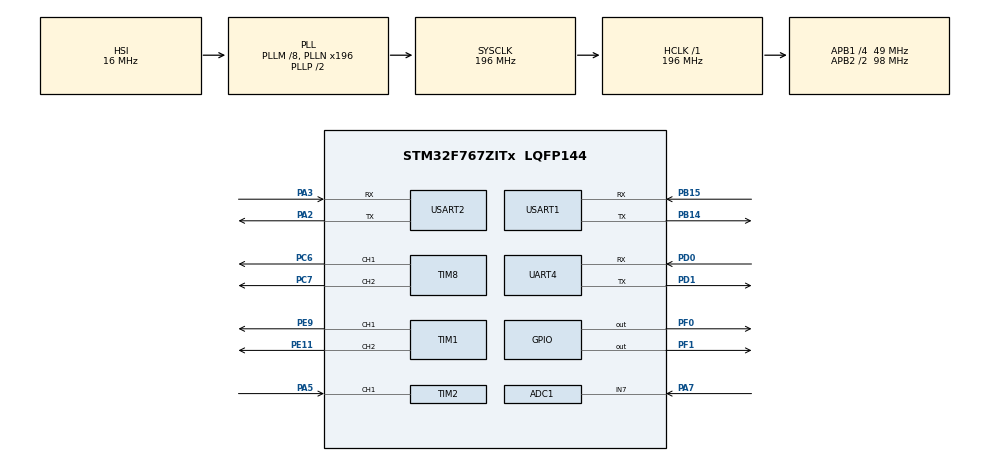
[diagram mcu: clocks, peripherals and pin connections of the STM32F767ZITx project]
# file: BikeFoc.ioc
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ADC1.Channel-0\#ChannelRegularConversion=ADC_CHANNEL_7
ADC1.ContinuousConvMode=ENABLE
ADC1.DMAContinuousRequests=ENABLE
ADC1.NbrOfConversionFlag=1
ADC1.Rank-0\#ChannelRegularConversion=1
ADC1.SamplingTime-0\#ChannelRegularConversion=ADC_SAMPLETIME_3CYCLES
ADC1.ScanConvMode=ADC_SCAN_ENABLE
ADC1.master=1
Dma.ADC1.4.Direction=DMA_PERIPH_TO_MEMORY
Dma.ADC1.4.FIFOMode=DMA_FIFOMODE_DISABLE
Dma.ADC1.4.Instance=DMA2_Stream0
Dma.ADC1.4.MemDataAlignment=DMA_MDATAALIGN_HALFWORD
Dma.ADC1.4.MemInc=DMA_MINC_ENABLE
Dma.ADC1.4.Mode=DMA_NORMAL
Dma.ADC1.4.PeriphDataAlignment=DMA_PDATAALIGN_HALFWORD
Dma.ADC1.4.PeriphInc=DMA_PINC_DISABLE
Dma.ADC1.4.Priority=DMA_PRIORITY_LOW
Dma.Request0=USART2_RX
Dma.Request1=USART2_TX
Dma.Request2=UART4_RX
Dma.Request3=UART4_TX
Dma.Request4=ADC1
Dma.UART4_RX.2.Direction=DMA_PERIPH_TO_MEMORY
Dma.UART4_RX.2.FIFOMode=DMA_FIFOMODE_DISABLE
Dma.UART4_RX.2.Instance=DMA1_Stream2
Dma.UART4_RX.2.MemDataAlignment=DMA_MDATAALIGN_BYTE
Dma.UART4_RX.2.MemInc=DMA_MINC_ENABLE
Dma.UART4_RX.2.Mode=DMA_NORMAL
Dma.UART4_RX.2.PeriphDataAlignment=DMA_PDATAALIGN_BYTE
Dma.UART4_RX.2.PeriphInc=DMA_PINC_DISABLE
Dma.UART4_RX.2.Priority=DMA_PRIORITY_LOW
Dma.UART4_TX.3.Direction=DMA_MEMORY_TO_PERIPH
Dma.UART4_TX.3.FIFOMode=DMA_FIFOMODE_DISABLE
Dma.UART4_TX.3.Instance=DMA1_Stream4
Dma.UART4_TX.3.MemDataAlignment=DMA_MDATAALIGN_BYTE
Dma.UART4_TX.3.MemInc=DMA_MINC_ENABLE
Dma.UART4_TX.3.Mode=DMA_NORMAL
Dma.UART4_TX.3.PeriphDataAlignment=DMA_PDATAALIGN_BYTE
Dma.UART4_TX.3.PeriphInc=DMA_PINC_DISABLE
Dma.UART4_TX.3.Priority=DMA_PRIORITY_LOW
Dma.USART2_RX.0.Direction=DMA_PERIPH_TO_MEMORY
Dma.USART2_RX.0.FIFOMode=DMA_FIFOMODE_DISABLE
Dma.USART2_RX.0.Instance=DMA1_Stream5
Dma.USART2_RX.0.MemDataAlignment=DMA_MDATAALIGN_BYTE
Dma.USART2_RX.0.MemInc=DMA_MINC_ENABLE
Dma.USART2_RX.0.Mode=DMA_NORMAL
Dma.USART2_RX.0.PeriphDataAlignment=DMA_PDATAALIGN_BYTE
Dma.USART2_RX.0.PeriphInc=DMA_PINC_DISABLE
Dma.USART2_RX.0.Priority=DMA_PRIORITY_LOW
Dma.USART2_TX.1.Direction=DMA_MEMORY_TO_PERIPH
Dma.USART2_TX.1.FIFOMode=DMA_FIFOMODE_DISABLE
Dma.USART2_TX.1.Instance=DMA1_Stream6
Dma.USART2_TX.1.MemDataAlignment=DMA_MDATAALIGN_BYTE
Dma.USART2_TX.1.MemInc=DMA_MINC_ENABLE
Dma.USART2_TX.1.Mode=DMA_NORMAL
Dma.USART2_TX.1.PeriphDataAlignment=DMA_PDATAALIGN_BYTE
Dma.USART2_TX.1.PeriphInc=DMA_PINC_DISABLE
Dma.USART2_TX.1.Priority=DMA_PRIORITY_LOW
FREERTOS.BinarySemaphores01=myBinarySem01,Dynamic,NULL;myBinarySem02,Dynamic,NULL
FREERTOS.CountingSemaphores01=myCountingSem01,2,Dynamic,NULL
FREERTOS.Events01=myEvent01,Dynamic,NULL
FREERTOS.INCLUDE_pcTaskGetTaskName=1
FREERTOS.INCLUDE_uxTaskGetStackHighWaterMark2=1
FREERTOS.INCLUDE_xEventGroupSetBitFromISR=1
FREERTOS.INCLUDE_xTaskAbortDelay=1
FREERTOS.INCLUDE_xTaskGetCurrentTaskHandle=1
FREERTOS.INCLUDE_xTaskGetHandle=1
FREERTOS.Mutexes01=myMutex01,Dynamic,NULL
FREERTOS.Queues01=userMessageQueue,256,uint16_t,0,Dynamic,NULL,NULL;myQueue02,16,uint16_t,0,Dynamic,NULL,NULL
FREERTOS.RecursiveMutexes01=myRecursiveMutex01,Dynamic,NULL
FREERTOS.Tasks01=defaultTask,24,512,StartDefaultTask,Default,NULL,Dynamic,NULL,NULL;myTask02,8,256,StartTask02,Default,NULL,Dynamic,NULL,NULL
FREERTOS.Timers01=myTimer01,Callback01,osTimerPeriodic,Default,NULL,Dynamic,NULL;myTimer02,Callback02,osTimerPeriodic,Default,NULL,Dynamic,NULL
FREERTOS.configENABLE_FPU=1
FREERTOS.configMAX_TASK_NAME_LEN=96
FREERTOS.configMINIMAL_STACK_SIZE=128
FREERTOS.configUSE_IDLE_HOOK=1
FREERTOS.configUSE_NEWLIB_REENTRANT=0
FREERTOS.configUSE_STATS_FORMATTING_FUNCTIONS=1
FREERTOS.configUSE_TICK_HOOK=1
Mcu.Family=STM32F7
Mcu.Name=STM32F767ZITx
Mcu.Package=LQFP144
NVIC.ADC_IRQn=true\:5\:0\:false\:false\:true\:true\:true\:true
NVIC.DMA1_Stream2_IRQn=true\:5\:0\:false\:false\:true\:true\:false\:true
NVIC.DMA1_Stream4_IRQn=true\:5\:0\:false\:false\:true\:true\:false\:true
NVIC.DMA1_Stream5_IRQn=true\:5\:0\:false\:false\:true\:true\:false\:true
NVIC.DMA1_Stream6_IRQn=true\:5\:0\:false\:false\:true\:true\:false\:true
NVIC.DMA2_Stream0_IRQn=true\:5\:0\:false\:false\:true\:true\:false\:true
NVIC.PriorityGroup=NVIC_PRIORITYGROUP_4
NVIC.USART2_IRQn=true\:5\:0\:false\:false\:true\:true\:true\:true
PA2.Mode=Asynchronous
PA2.Signal=USART2_TX
PA3.Mode=Asynchronous
PA3.Signal=USART2_RX
PA5.Signal=S_TIM2_CH1_ETR
PA7.Signal=ADCx_IN7
PB14.Mode=Asynchronous
PB14.Signal=USART1_TX
PB15.Mode=Asynchronous
PB15.Signal=USART1_RX
PC6.Signal=S_TIM8_CH1
PC7.Signal=S_TIM8_CH2
PD0.Mode=Asynchronous
PD0.Signal=UART4_RX
PD1.Mode=Asynchronous
PD1.Signal=UART4_TX
PE11.Signal=S_TIM1_CH2
PE9.Signal=S_TIM1_CH1
PF0.Signal=GPIO_Output
PF1.Signal=GPIO_Output
PH0/OSC_IN.Mode=HSE-External-Oscillator
PH0/OSC_IN.Signal=RCC_OSC_IN
PH1/OSC_OUT.Mode=HSE-External-Oscillator
PH1/OSC_OUT.Signal=RCC_OSC_OUT
ProjectManager.HeapSize=0x400
ProjectManager.StackSize=0x800
ProjectManager.TargetToolchain=MDK-ARM V5.32
RCC.AHBFreq_Value=196000000
RCC.APB1CLKDivider=RCC_HCLK_DIV4
RCC.APB1Freq_Value=49000000
RCC.APB1TimFreq_Value=98000000
RCC.APB2CLKDivider=RCC_HCLK_DIV2
RCC.APB2Freq_Value=98000000
RCC.APB2TimFreq_Value=196000000
RCC.CortexFreq_Value=196000000
RCC.HCLKFreq_Value=196000000
RCC.HSE_VALUE=25000000
RCC.HSI_VALUE=16000000
RCC.LSE_VALUE=32768
RCC.PLLM=8
RCC.PLLN=196
RCC.SYSCLKFreq_VALUE=196000000
RCC.SYSCLKSource=RCC_SYSCLKSOURCE_PLLCLK
RCC.USBFreq_Value=196000000
RCC.VCOOutputFreq_Value=392000000
SH.ADCx_IN7.0=ADC1_IN7,IN7
SH.S_TIM1_CH1.0=TIM1_CH1,PWM Generation1 CH1
SH.S_TIM1_CH2.0=TIM1_CH2,Output Compare2 CH2
SH.S_TIM2_CH1_ETR.0=TIM2_CH1,Input_Capture1_from_TI1
SH.S_TIM8_CH1.0=TIM8_CH1,Output Compare1 CH1
SH.S_TIM8_CH2.0=TIM8_CH2,Output Compare2 CH2
TIM1.Channel-Output\ Compare2\ CH2=TIM_CHANNEL_2
TIM1.Channel-PWM\ Generation1\ CH1=TIM_CHANNEL_1
TIM2.Channel-Input_Capture1_from_TI1=TIM_CHANNEL_1
TIM2.Channel-Input_Capture2_from_TI1_63=TIM_CHANNEL_2
TIM8.Channel-Output\ Compare1\ CH1=TIM_CHANNEL_1
TIM8.Channel-Output\ Compare2\ CH2=TIM_CHANNEL_2
USART1.VirtualMode-Asynchronous=VM_ASYNC
USART2.VirtualMode-Asynchronous=VM_ASYNC
VP_FREERTOS_VS_CMSIS_V2.Mode=CMSIS_V2
VP_TIM1_VS_ClockSourceINT.Mode=Internal
VP_TIM2_VS_ClockSourceINT.Mode=Internal
VP_TIM2_VS_indirect_ch1.Mode=Input_Capture2_from_TI1_63
VP_TIM8_VS_ClockSourceITR.Mode=TriggerSource_ITR0
board=custom

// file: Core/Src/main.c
/* USER CODE BEGIN Header */
/**
  ******************************************************************************
  * @file           : main.c
  * @brief          : Main program body
  ******************************************************************************
  * @attention
  *
  * <h2><center>&copy; Copyright (c) 2022 STMicroelectronics.
  * All rights reserved.</center></h2>
  *
  * This software component is licensed by ST under Ultimate Liberty license
  * SLA0044, the "License"; You may not use this file except in compliance with
  * the License. You may obtain a copy of the License at:
  *                             www.st.com/SLA0044
  *
  ******************************************************************************
  */
/* USER CODE END Header */
#include "main.h"
#include "cmsis_os.h"
#include "jwSerial.h"
#include "jwMPU6050.h"
#include "jwAlgorothem.h"

ADC_HandleTypeDef hadc1;
DMA_HandleTypeDef hdma_adc1;

TIM_HandleTypeDef htim1;
TIM_HandleTypeDef htim2;
TIM_HandleTypeDef htim8;

UART_HandleTypeDef huart4;
UART_HandleTypeDef huart1;
UART_HandleTypeDef huart2;
DMA_HandleTypeDef hdma_uart4_rx;
DMA_HandleTypeDef hdma_uart4_tx;
DMA_HandleTypeDef hdma_usart2_rx;
DMA_HandleTypeDef hdma_usart2_tx;

/* Definitions for defaultTask */
osThreadId_t defaultTaskHandle;
const osThreadAttr_t defaultTask_attributes = {
  .name = "defaultTask",
  .stack_size = 512 * 4,
  .priority = (osPriority_t) osPriorityNormal,
};
/* Definitions for myTask02 */
osThreadId_t myTask02Handle;
const osThreadAttr_t myTask02_attributes = {
  .name = "myTask02",
  .stack_size = 256 * 4,
  .priority = (osPriority_t) osPriorityLow,
};
/* Definitions for userMessageQueue */
osMessageQueueId_t userMessageQueueHandle;
const osMessageQueueAttr_t userMessageQueue_attributes = {
  .name = "userMessageQueue"
};
/* Definitions for myQueue02 */
osMessageQueueId_t myQueue02Handle;
const osMessageQueueAttr_t myQueue02_attributes = {
  .name = "myQueue02"
};
/* Definitions for myTimer01 */
osTimerId_t myTimer01Handle;
const osTimerAttr_t myTimer01_attributes = {
  .name = "myTimer01"
};
/* Definitions for myTimer02 */
osTimerId_t myTimer02Handle;
const osTimerAttr_t myTimer02_attributes = {
  .name = "myTimer02"
};
/* Definitions for myMutex01 */
osMutexId_t myMutex01Handle;
const osMutexAttr_t myMutex01_attributes = {
  .name = "myMutex01"
};
/* Definitions for myRecursiveMutex01 */
osMutexId_t myRecursiveMutex01Handle;
const osMutexAttr_t myRecursiveMutex01_attributes = {
  .name = "myRecursiveMutex01",
  .attr_bits = osMutexRecursive,
};
/* Definitions for myBinarySem01 */
osSemaphoreId_t myBinarySem01Handle;
const osSemaphoreAttr_t myBinarySem01_attributes = {
  .name = "myBinarySem01"
};
/* Definitions for myBinarySem02 */
osSemaphoreId_t myBinarySem02Handle;
const osSemaphoreAttr_t myBinarySem02_attributes = {
  .name = "myBinarySem02"
};
/* Definitions for myCountingSem01 */
osSemaphoreId_t myCountingSem01Handle;
const osSemaphoreAttr_t myCountingSem01_attributes = {
  .name = "myCountingSem01"
};
/* Definitions for myEvent01 */
osEventFlagsId_t myEvent01Handle;
const osEventFlagsAttr_t myEvent01_attributes = {
  .name = "myEvent01"
};

void SystemClock_Config(void);
static void MX_GPIO_Init(void);
static void MX_DMA_Init(void);
static void MX_TIM1_Init(void);
static void MX_USART1_UART_Init(void);
static void MX_USART2_UART_Init(void);
static void MX_TIM2_Init(void);
static void MX_TIM8_Init(void);
static void MX_UART4_Init(void);
static void MX_ADC1_Init(void);
void StartDefaultTask(void *argument);
void StartTask02(void *argument);
void Callback01(void *argument);
void Callback02(void *argument);

int main(void)
{

  /* MCU Configuration--------------------------------------------------------*/

  /* Reset of all peripherals, Initializes the Flash interface and the Systick. */
  HAL_Init();

  /* Configure the system clock */
  SystemClock_Config();

  /* Initialize all configured peripherals */
  MX_GPIO_Init();
  MX_DMA_Init();
  MX_TIM1_Init();
  MX_USART1_UART_Init();
  MX_USART2_UART_Init();
  MX_TIM2_Init();
  MX_TIM8_Init();
  MX_UART4_Init();
  MX_ADC1_Init();
  /* USER CODE BEGIN 2 */
  jw_communication_Init();
  /* USER CODE END 2 */

  /* Init scheduler */
  osKernelInitialize();
  /* Create the mutex(es) */
  /* creation of myMutex01 */
  myMutex01Handle = osMutexNew(&myMutex01_attributes);

  /* Create the recursive mutex(es) */
  /* creation of myRecursiveMutex01 */
  myRecursiveMutex01Handle = osMutexNew(&myRecursiveMutex01_attributes);

  /* Create the semaphores(s) */
  /* creation of myBinarySem01 */
  myBinarySem01Handle = osSemaphoreNew(1, 1, &myBinarySem01_attributes);

  /* creation of myBinarySem02 */
  myBinarySem02Handle = osSemaphoreNew(1, 1, &myBinarySem02_attributes);

  /* creation of myCountingSem01 */
  myCountingSem01Handle = osSemaphoreNew(2, 2, &myCountingSem01_attributes);

  /* Create the timer(s) */
  /* creation of myTimer01 */
  myTimer01Handle = osTimerNew(Callback01, osTimerPeriodic, NULL, &myTimer01_attributes);

  /* creation of myTimer02 */
  myTimer02Handle = osTimerNew(Callback02, osTimerPeriodic, NULL, &myTimer02_attributes);

  /* Create the queue(s) */
  /* creation of userMessageQueue */
  userMessageQueueHandle = osMessageQueueNew (256, sizeof(uint16_t), &userMessageQueue_attributes);

  /* creation of myQueue02 */
  myQueue02Handle = osMessageQueueNew (16, sizeof(uint16_t), &myQueue02_attributes);

  /* Create the thread(s) */
  /* creation of defaultTask */
  defaultTaskHandle = osThreadNew(StartDefaultTask, NULL, &defaultTask_attributes);

  /* creation of myTask02 */
  myTask02Handle = osThreadNew(StartTask02, NULL, &myTask02_attributes);

  /* creation of myEvent01 */
  myEvent01Handle = osEventFlagsNew(&myEvent01_attributes);

  /* Start scheduler */
  osKernelStart();

  /* We should never get here as control is now taken by the scheduler */
  /* Infinite loop */
  while (1)
  {

  }
}

void SystemClock_Config(void)
{
  RCC_OscInitTypeDef RCC_OscInitStruct = {0};
  RCC_ClkInitTypeDef RCC_ClkInitStruct = {0};
  RCC_PeriphCLKInitTypeDef PeriphClkInitStruct = {0};

  /** Configure the main internal regulator output voltage
  */
  __HAL_RCC_PWR_CLK_ENABLE();
  __HAL_PWR_VOLTAGESCALING_CONFIG(PWR_REGULATOR_VOLTAGE_SCALE1);
  /** Initializes the RCC Oscillators according to the specified parameters
  * in the RCC_OscInitTypeDef structure.
  */
  RCC_OscInitStruct.OscillatorType = RCC_OSCILLATORTYPE_HSI;
  RCC_OscInitStruct.HSIState = RCC_HSI_ON;
  RCC_OscInitStruct.HSICalibrationValue = RCC_HSICALIBRATION_DEFAULT;
  RCC_OscInitStruct.PLL.PLLState = RCC_PLL_ON;
  RCC_OscInitStruct.PLL.PLLSource = RCC_PLLSOURCE_HSI;
  RCC_OscInitStruct.PLL.PLLM = 8;
  RCC_OscInitStruct.PLL.PLLN = 196;
  RCC_OscInitStruct.PLL.PLLP = RCC_PLLP_DIV2;
  RCC_OscInitStruct.PLL.PLLQ = 2;
  RCC_OscInitStruct.PLL.PLLR = 2;
  if (HAL_RCC_OscConfig(&RCC_OscInitStruct) != HAL_OK)
  {
    Error_Handler();
  }
  /** Activate the Over-Drive mode
  */
  if (HAL_PWREx_EnableOverDrive() != HAL_OK)
  {
    Error_Handler();
  }
  /** Initializes the CPU, AHB and APB buses clocks
  */
  RCC_ClkInitStruct.ClockType = RCC_CLOCKTYPE_HCLK|RCC_CLOCKTYPE_SYSCLK
                              |RCC_CLOCKTYPE_PCLK1|RCC_CLOCKTYPE_PCLK2;
  RCC_ClkInitStruct.SYSCLKSource = RCC_SYSCLKSOURCE_PLLCLK;
  RCC_ClkInitStruct.AHBCLKDivider = RCC_SYSCLK_DIV1;
  RCC_ClkInitStruct.APB1CLKDivider = RCC_HCLK_DIV4;
  RCC_ClkInitStruct.APB2CLKDivider = RCC_HCLK_DIV2;

  if (HAL_RCC_ClockConfig(&RCC_ClkInitStruct, FLASH_LATENCY_6) != HAL_OK)
  {
    Error_Handler();
  }
  PeriphClkInitStruct.PeriphClockSelection = RCC_PERIPHCLK_USART1|RCC_PERIPHCLK_USART2
                              |RCC_PERIPHCLK_UART4;
  PeriphClkInitStruct.Usart1ClockSelection = RCC_USART1CLKSOURCE_PCLK2;
  PeriphClkInitStruct.Usart2ClockSelection = RCC_USART2CLKSOURCE_PCLK1;
  PeriphClkInitStruct.Uart4ClockSelection = RCC_UART4CLKSOURCE_PCLK1;
  if (HAL_RCCEx_PeriphCLKConfig(&PeriphClkInitStruct) != HAL_OK)
  {
    Error_Handler();
  }
}

static void MX_ADC1_Init(void)
{

  ADC_ChannelConfTypeDef sConfig = {0};

  /** Configure the global features of the ADC (Clock, Resolution, Data Alignment and number of conversion)
  */
  hadc1.Instance = ADC1;
  hadc1.Init.ClockPrescaler = ADC_CLOCK_SYNC_PCLK_DIV4;
  hadc1.Init.Resolution = ADC_RESOLUTION_12B;
  hadc1.Init.ScanConvMode = ADC_SCAN_ENABLE;
  hadc1.Init.ContinuousConvMode = ENABLE;
  hadc1.Init.DiscontinuousConvMode = DISABLE;
  hadc1.Init.ExternalTrigConvEdge = ADC_EXTERNALTRIGCONVEDGE_NONE;
  hadc1.Init.ExternalTrigConv = ADC_SOFTWARE_START;
  hadc1.Init.DataAlign = ADC_DATAALIGN_RIGHT;
  hadc1.Init.NbrOfConversion = 1;
  hadc1.Init.DMAContinuousRequests = ENABLE;
  hadc1.Init.EOCSelection = ADC_EOC_SINGLE_CONV;
  if (HAL_ADC_Init(&hadc1) != HAL_OK)
  {
    Error_Handler();
  }
  /** Configure for the selected ADC regular channel its corresponding rank in the sequencer and its sample time.
  */
  sConfig.Channel = ADC_CHANNEL_7;
  sConfig.Rank = ADC_REGULAR_RANK_1;
  sConfig.SamplingTime = ADC_SAMPLETIME_3CYCLES;
  if (HAL_ADC_ConfigChannel(&hadc1, &sConfig) != HAL_OK)
  {
    Error_Handler();
  }

}

static void MX_TIM1_Init(void)
{

  TIM_ClockConfigTypeDef sClockSourceConfig = {0};
  TIM_MasterConfigTypeDef sMasterConfig = {0};
  TIM_OC_InitTypeDef sConfigOC = {0};
  TIM_BreakDeadTimeConfigTypeDef sBreakDeadTimeConfig = {0};

  htim1.Instance = TIM1;
  htim1.Init.Prescaler = 0;
  htim1.Init.CounterMode = TIM_COUNTERMODE_UP;
  htim1.Init.Period = 65535;
  htim1.Init.ClockDivision = TIM_CLOCKDIVISION_DIV1;
  htim1.Init.RepetitionCounter = 0;
  htim1.Init.AutoReloadPreload = TIM_AUTORELOAD_PRELOAD_DISABLE;
  if (HAL_TIM_Base_Init(&htim1) != HAL_OK)
  {
    Error_Handler();
  }
  sClockSourceConfig.ClockSource = TIM_CLOCKSOURCE_INTERNAL;
  if (HAL_TIM_ConfigClockSource(&htim1, &sClockSourceConfig) != HAL_OK)
  {
    Error_Handler();
  }
  if (HAL_TIM_PWM_Init(&htim1) != HAL_OK)
  {
    Error_Handler();
  }
  if (HAL_TIM_OC_Init(&htim1) != HAL_OK)
  {
    Error_Handler();
  }
  sMasterConfig.MasterOutputTrigger = TIM_TRGO_RESET;
  sMasterConfig.MasterOutputTrigger2 = TIM_TRGO2_RESET;
  sMasterConfig.MasterSlaveMode = TIM_MASTERSLAVEMODE_DISABLE;
  if (HAL_TIMEx_MasterConfigSynchronization(&htim1, &sMasterConfig) != HAL_OK)
  {
    Error_Handler();
  }
  sConfigOC.OCMode = TIM_OCMODE_PWM1;
  sConfigOC.Pulse = 0;
  sConfigOC.OCPolarity = TIM_OCPOLARITY_HIGH;
  sConfigOC.OCNPolarity = TIM_OCNPOLARITY_HIGH;
  sConfigOC.OCFastMode = TIM_OCFAST_DISABLE;
  sConfigOC.OCIdleState = TIM_OCIDLESTATE_RESET;
  sConfigOC.OCNIdleState = TIM_OCNIDLESTATE_RESET;
  if (HAL_TIM_PWM_ConfigChannel(&htim1, &sConfigOC, TIM_CHANNEL_1) != HAL_OK)
  {
    Error_Handler();
  }
  sConfigOC.OCMode = TIM_OCMODE_TIMING;
  if (HAL_TIM_OC_ConfigChannel(&htim1, &sConfigOC, TIM_CHANNEL_2) != HAL_OK)
  {
    Error_Handler();
  }
  sBreakDeadTimeConfig.OffStateRunMode = TIM_OSSR_DISABLE;
  sBreakDeadTimeConfig.OffStateIDLEMode = TIM_OSSI_DISABLE;
  sBreakDeadTimeConfig.LockLevel = TIM_LOCKLEVEL_OFF;
  sBreakDeadTimeConfig.DeadTime = 0;
  sBreakDeadTimeConfig.BreakState = TIM_BREAK_DISABLE;
  sBreakDeadTimeConfig.BreakPolarity = TIM_BREAKPOLARITY_HIGH;
  sBreakDeadTimeConfig.BreakFilter = 0;
  sBreakDeadTimeConfig.Break2State = TIM_BREAK2_DISABLE;
  sBreakDeadTimeConfig.Break2Polarity = TIM_BREAK2POLARITY_HIGH;
  sBreakDeadTimeConfig.Break2Filter = 0;
  sBreakDeadTimeConfig.AutomaticOutput = TIM_AUTOMATICOUTPUT_DISABLE;
  if (HAL_TIMEx_ConfigBreakDeadTime(&htim1, &sBreakDeadTimeConfig) != HAL_OK)
  {
    Error_Handler();
  }
  HAL_TIM_MspPostInit(&htim1);

}

static void MX_TIM2_Init(void)
{

  TIM_ClockConfigTypeDef sClockSourceConfig = {0};
  TIM_MasterConfigTypeDef sMasterConfig = {0};
  TIM_IC_InitTypeDef sConfigIC = {0};

  htim2.Instance = TIM2;
  htim2.Init.Prescaler = 0;
  htim2.Init.CounterMode = TIM_COUNTERMODE_UP;
  htim2.Init.Period = 4294967295;
  htim2.Init.ClockDivision = TIM_CLOCKDIVISION_DIV1;
  htim2.Init.AutoReloadPreload = TIM_AUTORELOAD_PRELOAD_DISABLE;
  if (HAL_TIM_Base_Init(&htim2) != HAL_OK)
  {
    Error_Handler();
  }
  sClockSourceConfig.ClockSource = TIM_CLOCKSOURCE_INTERNAL;
  if (HAL_TIM_ConfigClockSource(&htim2, &sClockSourceConfig) != HAL_OK)
  {
    Error_Handler();
  }
  if (HAL_TIM_IC_Init(&htim2) != HAL_OK)
  {
    Error_Handler();
  }
  sMasterConfig.MasterOutputTrigger = TIM_TRGO_RESET;
  sMasterConfig.MasterSlaveMode = TIM_MASTERSLAVEMODE_DISABLE;
  if (HAL_TIMEx_MasterConfigSynchronization(&htim2, &sMasterConfig) != HAL_OK)
  {
    Error_Handler();
  }
  sConfigIC.ICPolarity = TIM_INPUTCHANNELPOLARITY_RISING;
  sConfigIC.ICSelection = TIM_ICSELECTION_DIRECTTI;
  sConfigIC.ICPrescaler = TIM_ICPSC_DIV1;
  sConfigIC.ICFilter = 0;
  if (HAL_TIM_IC_ConfigChannel(&htim2, &sConfigIC, TIM_CHANNEL_1) != HAL_OK)
  {
    Error_Handler();
  }
  sConfigIC.ICSelection = TIM_ICSELECTION_INDIRECTTI;
  if (HAL_TIM_IC_ConfigChannel(&htim2, &sConfigIC, TIM_CHANNEL_2) != HAL_OK)
  {
    Error_Handler();
  }

}

static void MX_TIM8_Init(void)
{

  TIM_SlaveConfigTypeDef sSlaveConfig = {0};
  TIM_MasterConfigTypeDef sMasterConfig = {0};
  TIM_OC_InitTypeDef sConfigOC = {0};
  TIM_BreakDeadTimeConfigTypeDef sBreakDeadTimeConfig = {0};

  htim8.Instance = TIM8;
  htim8.Init.Prescaler = 0;
  htim8.Init.CounterMode = TIM_COUNTERMODE_UP;
  htim8.Init.Period = 65535;
  htim8.Init.ClockDivision = TIM_CLOCKDIVISION_DIV1;
  htim8.Init.RepetitionCounter = 0;
  htim8.Init.AutoReloadPreload = TIM_AUTORELOAD_PRELOAD_DISABLE;
  if (HAL_TIM_Base_Init(&htim8) != HAL_OK)
  {
    Error_Handler();
  }
  if (HAL_TIM_OC_Init(&htim8) != HAL_OK)
  {
    Error_Handler();
  }
  sSlaveConfig.SlaveMode = TIM_SLAVEMODE_DISABLE;
  sSlaveConfig.InputTrigger = TIM_TS_ITR0;
  if (HAL_TIM_SlaveConfigSynchro(&htim8, &sSlaveConfig) != HAL_OK)
  {
    Error_Handler();
  }
  sMasterConfig.MasterOutputTrigger = TIM_TRGO_RESET;
  sMasterConfig.MasterOutputTrigger2 = TIM_TRGO2_RESET;
  sMasterConfig.MasterSlaveMode = TIM_MASTERSLAVEMODE_DISABLE;
  if (HAL_TIMEx_MasterConfigSynchronization(&htim8, &sMasterConfig) != HAL_OK)
  {
    Error_Handler();
  }
  sConfigOC.OCMode = TIM_OCMODE_TIMING;
  sConfigOC.Pulse = 0;
  sConfigOC.OCPolarity = TIM_OCPOLARITY_HIGH;
  sConfigOC.OCNPolarity = TIM_OCNPOLARITY_HIGH;
  sConfigOC.OCFastMode = TIM_OCFAST_DISABLE;
  sConfigOC.OCIdleState = TIM_OCIDLESTATE_RESET;
  sConfigOC.OCNIdleState = TIM_OCNIDLESTATE_RESET;
  if (HAL_TIM_OC_ConfigChannel(&htim8, &sConfigOC, TIM_CHANNEL_1) != HAL_OK)
  {
    Error_Handler();
  }
  if (HAL_TIM_OC_ConfigChannel(&htim8, &sConfigOC, TIM_CHANNEL_2) != HAL_OK)
  {
    Error_Handler();
  }
  sBreakDeadTimeConfig.OffStateRunMode = TIM_OSSR_DISABLE;
  sBreakDeadTimeConfig.OffStateIDLEMode = TIM_OSSI_DISABLE;
  sBreakDeadTimeConfig.LockLevel = TIM_LOCKLEVEL_OFF;
  sBreakDeadTimeConfig.DeadTime = 0;
  sBreakDeadTimeConfig.BreakState = TIM_BREAK_DISABLE;
  sBreakDeadTimeConfig.BreakPolarity = TIM_BREAKPOLARITY_HIGH;
  sBreakDeadTimeConfig.BreakFilter = 0;
  sBreakDeadTimeConfig.Break2State = TIM_BREAK2_DISABLE;
  sBreakDeadTimeConfig.Break2Polarity = TIM_BREAK2POLARITY_HIGH;
  sBreakDeadTimeConfig.Break2Filter = 0;
  sBreakDeadTimeConfig.AutomaticOutput = TIM_AUTOMATICOUTPUT_DISABLE;
  if (HAL_TIMEx_ConfigBreakDeadTime(&htim8, &sBreakDeadTimeConfig) != HAL_OK)
  {
    Error_Handler();
  }
  HAL_TIM_MspPostInit(&htim8);

}

static void MX_UART4_Init(void)
{

  huart4.Instance = UART4;
  huart4.Init.BaudRate = 115200;
  huart4.Init.WordLength = UART_WORDLENGTH_8B;
  huart4.Init.StopBits = UART_STOPBITS_1;
  huart4.Init.Parity = UART_PARITY_NONE;
  huart4.Init.Mode = UART_MODE_TX_RX;
  huart4.Init.HwFlowCtl = UART_HWCONTROL_NONE;
  huart4.Init.OverSampling = UART_OVERSAMPLING_16;
  huart4.Init.OneBitSampling = UART_ONE_BIT_SAMPLE_DISABLE;
  huart4.AdvancedInit.AdvFeatureInit = UART_ADVFEATURE_NO_INIT;
  if (HAL_UART_Init(&huart4) != HAL_OK)
  {
    Error_Handler();
  }

}

static void MX_USART1_UART_Init(void)
{

  huart1.Instance = USART1;
  huart1.Init.BaudRate = 115200;
  huart1.Init.WordLength = UART_WORDLENGTH_8B;
  huart1.Init.StopBits = UART_STOPBITS_1;
  huart1.Init.Parity = UART_PARITY_NONE;
  huart1.Init.Mode = UART_MODE_TX_RX;
  huart1.Init.HwFlowCtl = UART_HWCONTROL_NONE;
  huart1.Init.OverSampling = UART_OVERSAMPLING_16;
  huart1.Init.OneBitSampling = UART_ONE_BIT_SAMPLE_DISABLE;
  huart1.AdvancedInit.AdvFeatureInit = UART_ADVFEATURE_NO_INIT;
  if (HAL_UART_Init(&huart1) != HAL_OK)
  {
    Error_Handler();
  }

}

static void MX_USART2_UART_Init(void)
{

  huart2.Instance = USART2;
  huart2.Init.BaudRate = 115200;
  huart2.Init.WordLength = UART_WORDLENGTH_8B;
  huart2.Init.StopBits = UART_STOPBITS_1;
  huart2.Init.Parity = UART_PARITY_NONE;
  huart2.Init.Mode = UART_MODE_TX_RX;
  huart2.Init.HwFlowCtl = UART_HWCONTROL_NONE;
  huart2.Init.OverSampling = UART_OVERSAMPLING_16;
  huart2.Init.OneBitSampling = UART_ONE_BIT_SAMPLE_DISABLE;
  huart2.AdvancedInit.AdvFeatureInit = UART_ADVFEATURE_NO_INIT;
  if (HAL_UART_Init(&huart2) != HAL_OK)
  {
    Error_Handler();
  }

}

static void MX_DMA_Init(void)
{

  /* DMA controller clock enable */
  __HAL_RCC_DMA1_CLK_ENABLE();
  __HAL_RCC_DMA2_CLK_ENABLE();

  /* DMA interrupt init */
  /* DMA1_Stream2_IRQn interrupt configuration */
  HAL_NVIC_SetPriority(DMA1_Stream2_IRQn, 5, 0);
  HAL_NVIC_EnableIRQ(DMA1_Stream2_IRQn);
  /* DMA1_Stream4_IRQn interrupt configuration */
  HAL_NVIC_SetPriority(DMA1_Stream4_IRQn, 5, 0);
  HAL_NVIC_EnableIRQ(DMA1_Stream4_IRQn);
  /* DMA1_Stream5_IRQn interrupt configuration */
  HAL_NVIC_SetPriority(DMA1_Stream5_IRQn, 5, 0);
  HAL_NVIC_EnableIRQ(DMA1_Stream5_IRQn);
  /* DMA1_Stream6_IRQn interrupt configuration */
  HAL_NVIC_SetPriority(DMA1_Stream6_IRQn, 5, 0);
  HAL_NVIC_EnableIRQ(DMA1_Stream6_IRQn);
  /* DMA2_Stream0_IRQn interrupt configuration */
  HAL_NVIC_SetPriority(DMA2_Stream0_IRQn, 5, 0);
  HAL_NVIC_EnableIRQ(DMA2_Stream0_IRQn);

}

static void MX_GPIO_Init(void)
{
  GPIO_InitTypeDef GPIO_InitStruct = {0};

  /* GPIO Ports Clock Enable */
  __HAL_RCC_GPIOF_CLK_ENABLE();
  __HAL_RCC_GPIOH_CLK_ENABLE();
  __HAL_RCC_GPIOA_CLK_ENABLE();
  __HAL_RCC_GPIOE_CLK_ENABLE();
  __HAL_RCC_GPIOB_CLK_ENABLE();
  __HAL_RCC_GPIOC_CLK_ENABLE();
  __HAL_RCC_GPIOD_CLK_ENABLE();

  /*Configure GPIO pin Output Level */
  HAL_GPIO_WritePin(GPIOF, GPIO_PIN_0|GPIO_PIN_1, GPIO_PIN_RESET);

  /*Configure GPIO pins : PF0 PF1 */
  GPIO_InitStruct.Pin = GPIO_PIN_0|GPIO_PIN_1;
  GPIO_InitStruct.Mode = GPIO_MODE_OUTPUT_PP;
  GPIO_InitStruct.Pull = GPIO_PULLUP;
  GPIO_InitStruct.Speed = GPIO_SPEED_FREQ_VERY_HIGH;
  HAL_GPIO_Init(GPIOF, &GPIO_InitStruct);

}

short tempadc;
short ax[3];
short gx[3];
MPU6050_Angle gamgle;

void StartDefaultTask(void *argument)
{
  /* USER CODE BEGIN 5 */

  /* Infinite loop */
jw_MPU6050_init();
MPU6050_Display_First();
osDelay(1000);

  for(;;)
  {
		//osDelay(100);
		//printf("StartTask01------------------------>");
		#if 0
		MPU_Get_Accelerometer(&ax[0], &ax[1], &ax[2]);
		MPU_Get_Gyroscope(&gx[0], &gx[1], &gx[2]);
		tempadc=MPU_Get_Temperature();
		MPU_Getdata();
		osDelay(100);
		Get_Angle();
		#else
		MPU6050_Get_Angle(&gamgle);
		osDelay(100);
		#endif
	}
  /* USER CODE END 5 */
}

void StartTask02(void *argument)
{
  /* USER CODE BEGIN StartTask02 */
  /* Infinite loop */
  for(;;)
  {
      //  osDelay(200);
		// printf("StartTask02------------------------>");
		osDelay(200);
	 //HAL_IWDG_Refresh(&hiwdg);
  }
  /* USER CODE END StartTask02 */
}

/* Callback01 function */
void Callback01(void *argument)
{
}

/* Callback02 function */
void Callback02(void *argument)
{
}

void Error_Handler(void)
{
  __disable_irq();
  while (1)
  {
  }
}

/************************ (C) COPYRIGHT STMicroelectronics *****END OF FILE****/

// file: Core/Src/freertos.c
/* USER CODE BEGIN Header */
/**
  ******************************************************************************
  * File Name          : freertos.c
  * Description        : Code for freertos applications
  ******************************************************************************
  * @attention
  *
  * <h2><center>&copy; Copyright (c) 2022 STMicroelectronics.
  * All rights reserved.</center></h2>
  *
  * This software component is licensed by ST under Ultimate Liberty license
  * SLA0044, the "License"; You may not use this file except in compliance with
  * the License. You may obtain a copy of the License at:
  *                             www.st.com/SLA0044
  *
  ******************************************************************************
  */
/* USER CODE END Header */

#include "FreeRTOS.h"
#include "task.h"
#include "main.h"

/* Hook prototypes */
void vApplicationIdleHook(void);
void vApplicationTickHook(void);

/* USER CODE BEGIN 2 */
void vApplicationIdleHook( void )
{
   /* vApplicationIdleHook() will only be called if configUSE_IDLE_HOOK is set
   to 1 in FreeRTOSConfig.h. It will be called on each iteration of the idle
   task. It is essential that code added to this hook function never attempts
   to block in any way (for example, call xQueueReceive() with a block time
   specified, or call vTaskDelay()). If the application makes use of the
   vTaskDelete() API function (as this demo application does) then it is also
   important that vApplicationIdleHook() is permitted to return to its calling
   function, because it is the responsibility of the idle task to clean up
   memory allocated by the kernel to any task that has since been deleted. */

  // printf("\r\n -------------> vApplicationIdleHook");

}
/* USER CODE END 2 */

/* USER CODE BEGIN 3 */
void vApplicationTickHook( void )
{
   /* This function will be called by each tick interrupt if
   configUSE_TICK_HOOK is set to 1 in FreeRTOSConfig.h. User code can be
   added here, but the tick hook is called from an interrupt context, so
   code must not attempt to block, and only the interrupt safe FreeRTOS API
   functions can be used (those that end in FromISR()). */
}
/* USER CODE END 3 */

/************************ (C) COPYRIGHT STMicroelectronics *****END OF FILE****/
